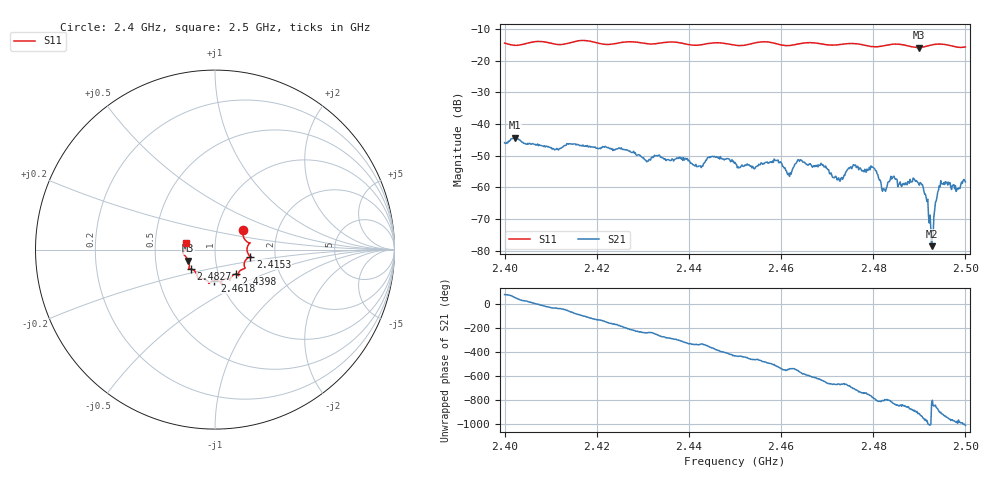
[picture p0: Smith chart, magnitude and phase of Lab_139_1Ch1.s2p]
# Hz S RI R 50
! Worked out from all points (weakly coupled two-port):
!   601 points, 2.4 GHz to 2.5 GHz, reference 50 ohm
!   highest |S21| = -44.32 dB at 2.4022 GHz (marker M1); lowest = -78.6 dB at 2.4927 GHz (marker M2)
!   lowest |S11| = -15.9 dB at 2.4898 GHz (marker M3), VSWR 1.38, Z = 36.8 - j4.6 ohm
!   |S11| at or under -10 dB: start of sweep to end of sweep
!   S12 and S22 are empty: the file has one direction only
!   S11 on the Smith chart (normalised r, x): 2.4 GHz: 1.33, +0.29; 2.4153 GHz: 1.48, -0.12; 2.4398 GHz: 1.21, -0.34; 2.4618 GHz: 0.94, -0.33; 2.4827 GHz: 0.75, -0.17; 2.5 GHz: 0.72, +0.06
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2.4e9  0.1552 0.1066  0.00134 0.00485  0 0  0 0
2.402167e9  0.1583 0.0715  0.00388 0.00468  0 0  0 0
2.415333e9  0.1966 -0.0393  0.000598 -0.00476  0 0  0 0
2.416667e9  0.2024 -0.0434  -0.000612 -0.00449  0 0  0 0
2.433333e9  0.1301 -0.1336  -0.000489 0.00312  0 0  0 0
2.439833e9  0.1157 -0.1362  0.00228 0.00128  0 0  0 0
2.45e9  0.0647 -0.1623  0.000806 -0.00233  0 0  0 0
2.459e9  0.0308 -0.1813  -0.00247 -0.000909  0 0  0 0
2.461833e9  -0.00316 -0.1726  -0.00148 -1.46e-05  0 0  0 0
2.464e9  -0.0278 -0.182  -0.00233 0.00106  0 0  0 0
2.466667e9  -0.0344 -0.1881  -0.000832 0.00197  0 0  0 0
2.472667e9  -0.0774 -0.1604  0.00076 0.000995  0 0  0 0
2.475667e9  -0.0948 -0.1592  0.00216 0.000646  0 0  0 0
2.48e9  -0.1099 -0.123  0.00105 -0.00177  0 0  0 0
2.482667e9  -0.1351 -0.1087  0.000201 -0.000835  0 0  0 0
2.483333e9  -0.1403 -0.1083  0.000256 -0.0012  0 0  0 0
2.489833e9  -0.1484 -0.0609  -0.00113 0.000171  0 0  0 0
2.491333e9  -0.1613 -0.0407  -0.000431 0.000641  0 0  0 0
2.492667e9  -0.1737 -0.0284  -2.94e-05 -0.000113  0 0  0 0
2.493833e9  -0.1801 -0.0225  -0.000568 -0.000413  0 0  0 0
2.494833e9  -0.1802 -0.0195  -0.00111 0.000228  0 0  0 0
2.5e9  -0.1591 0.0389  0.000372 0.00115  0 0  0 0
